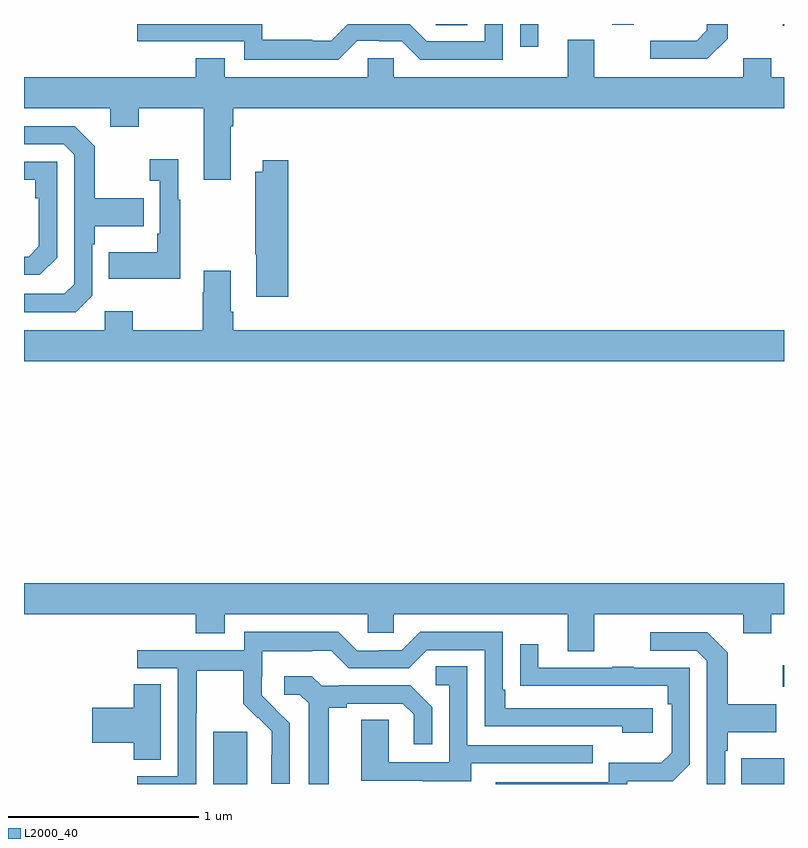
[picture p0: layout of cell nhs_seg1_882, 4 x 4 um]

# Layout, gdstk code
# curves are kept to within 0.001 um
import gdstk
lib = gdstk.Library(unit=1e-6, precision=1e-09)
def R(c, l, rs):  # rectangles x0, y0, x1, y1
    for r in rs: c.add(gdstk.rectangle(r[:2], r[2:], *l))
def P(c, l, *ps):  # polygons
    for p in ps: c.add(gdstk.Polygon(p, *l))
L2000_40 = (2000, 40)

nhs_seg1_882 = lib.new_cell('nhs_seg1_882')
R(nhs_seg1_882, L2000_40, [(159.995,524.199,160.174,524.475), (162.775,524.199,163,524.335), (162.993,524.711,163,524.824), (161.611,528.078,161.707,528.199), (162.993,528.189,163,528.199), (161.166,528.193,161.334,528.199), (162.097,528.196,162.209,528.199)])
P(nhs_seg1_882, L2000_40, [(162.703,528.121),(162.703,528.199),(162.594,528.199),(162.594,528.165),(162.54,528.111),(162.297,528.111),(162.297,528.015),(162.597,528.015)],
  [(160.755,528.111),(160.871,528.111),(160.871,528.108),(160.989,528.108),(161.085,528.012),(161.52,528.012),(161.52,528.199),(161.424,528.199),(161.424,528.108),(161.121,528.108),(161.03,528.199),(160.705,528.199),(160.617,528.111),(160.517,528.111),(160.517,528.115),(160.254,528.115),(160.254,528.199),(159.597,528.199),(159.597,528.108),(160.158,528.108),(160.158,528.011),(160.655,528.011)],
  [(160.087,527.66),(160.1,527.66),(160.1,527.756),(163,527.756),(163,527.92),(162.933,527.92),(162.933,528.019),(162.785,528.019),(162.785,527.92),(162.001,527.92),(162.001,528.115),(161.861,528.115),(161.861,527.92),(160.947,527.92),(160.947,528.018),(160.809,528.018),(160.809,527.92),(160.057,527.92),(160.057,528.019),(159.905,528.019),(159.905,527.92),(159,527.92),(159,527.756),(159.455,527.756),(159.455,527.657),(159.603,527.657),(159.603,527.756),(159.947,527.756),(159.947,527.379),(160.087,527.379)],
  [(159.36,526.77),(159.36,527.039),(159.373,527.039),(159.373,527.135),(159.629,527.135),(159.629,527.283),(159.373,527.283),(159.373,527.555),(159.267,527.661),(159,527.661),(159,527.565),(159.21,527.565),(159.264,527.511),(159.264,526.83),(159.213,526.779),(159,526.779),(159,526.683),(159.273,526.683)],
  [(159.823,527.275),(159.811,527.275),(159.811,527.488),(159.663,527.488),(159.663,527.375),(159.714,527.375),(159.714,527.095),(159.702,527.095),(159.702,526.999),(159.445,526.999),(159.445,526.859),(159.823,526.859)],
  [(160.391,527.482),(160.256,527.482),(160.256,527.422),(160.216,527.422),(160.216,526.987),(160.223,526.987),(160.223,526.764),(160.391,526.764)],
  [(159.174,526.968),(159.174,527.475),(159,527.475),(159,527.379),(159.058,527.379),(159.058,527.282),(159.078,527.282),(159.078,527.028),(159.025,526.975),(159,526.975),(159,526.878),(159.084,526.878)],
  [(163,526.588),(160.1,526.588),(160.1,526.684),(160.087,526.684),(160.087,526.9),(159.947,526.9),(159.947,526.787),(159.94,526.787),(159.94,526.588),(159.573,526.588),(159.573,526.687),(159.426,526.687),(159.426,526.588),(159,526.588),(159,526.424),(163,526.424)],
  [(162.001,525.092),(162.785,525.092),(162.785,524.993),(162.933,524.993),(162.933,525.092),(163,525.092),(163,525.256),(159,525.256),(159,525.092),(159.905,525.092),(159.905,524.993),(160.057,524.993),(160.057,525.092),(160.809,525.092),(160.809,524.994),(160.947,524.994),(160.947,525.092),(161.861,525.092),(161.861,524.898),(162.001,524.898)],
  [(159.906,524.572),(159.909,524.572),(159.909,524.796),(160.153,524.796),(160.153,524.621),(160.23,524.544),(160.233,524.547),(160.304,524.477),(160.304,524.354),(160.302,524.354),(160.302,524.2),(160.398,524.2),(160.398,524.518),(160.252,524.666),(160.252,524.763),(160.254,524.763),(160.254,524.897),(160.517,524.897),(160.517,524.901),(160.617,524.901),(160.71,524.808),(161.025,524.808),(161.121,524.904),(161.424,524.904),(161.424,524.502),(162.149,524.502),(162.149,524.468),(162.31,524.468),(162.31,524.598),(161.533,524.598),(161.533,524.695),(161.52,524.695),(161.52,525),(161.085,525),(160.989,524.904),(160.871,524.904),(160.871,524.901),(160.755,524.901),(160.655,525.001),(160.158,525.001),(160.158,524.904),(159.597,524.904),(159.597,524.808),(159.81,524.808),(159.81,524.241),(159.597,524.241),(159.597,524.199),(159.906,524.199)],
  [(162.69,524.375),(162.703,524.375),(162.703,524.471),(162.959,524.471),(162.959,524.619),(162.703,524.619),(162.703,524.891),(162.597,524.997),(162.297,524.997),(162.297,524.901),(162.54,524.901),(162.594,524.847),(162.594,524.199),(162.69,524.199)],
  [(162.174,524.214),(162.414,524.214),(162.504,524.304),(162.504,524.811),(162.209,524.811),(162.209,524.816),(162.097,524.816),(162.097,524.811),(161.707,524.811),(161.707,524.935),(161.611,524.935),(161.611,524.716),(162.388,524.715),(162.388,524.618),(162.408,524.618),(162.408,524.364),(162.355,524.311),(162.078,524.311),(162.078,524.208),(161.483,524.208),(161.483,524.199),(162.174,524.199)],
  [(161.353,524.307),(161.993,524.307),(161.993,524.403),(161.334,524.403),(161.334,524.819),(161.166,524.819),(161.166,524.718),(161.238,524.718),(161.238,524.313),(160.92,524.313),(160.92,524.537),(160.775,524.537),(160.775,524.217),(161.099,524.217),(161.099,524.213),(161.353,524.213)],
  [(160.603,524.6),(160.699,524.6),(160.699,524.622),(160.994,524.622),(161.051,524.565),(161.051,524.409),(161.148,524.409),(161.148,524.602),(161.032,524.718),(160.66,524.718),(160.66,524.715),(160.566,524.715),(160.514,524.767),(160.371,524.767),(160.371,524.67),(160.452,524.67),(160.499,524.623),(160.499,524.199),(160.603,524.199)],
  [(159.721,524.723),(159.578,524.723),(159.578,524.6),(159.36,524.6),(159.36,524.417),(159.578,524.417),(159.578,524.326),(159.721,524.326)])

lib.write_gds('nhs_seg1_882.gds')
